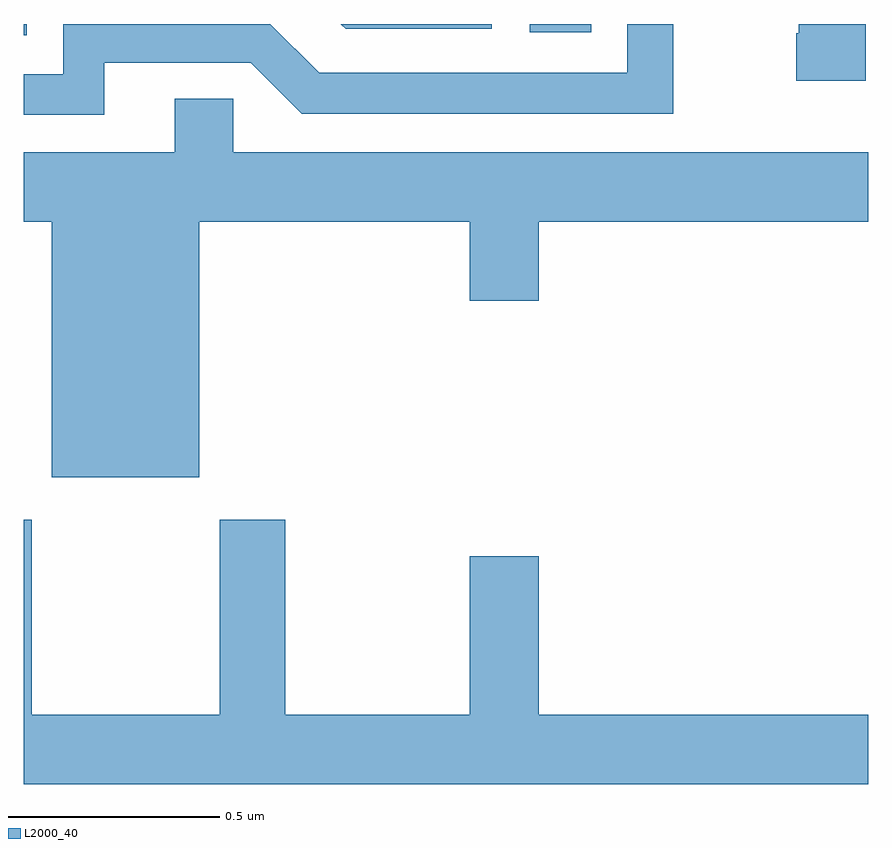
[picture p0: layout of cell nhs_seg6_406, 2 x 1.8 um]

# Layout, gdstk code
import gdstk
lib = gdstk.Library(unit=1e-6, precision=1e-09)
def R(c, l, rs):  # rectangles x0, y0, x1, y1
    for r in rs: c.add(gdstk.rectangle(r[:2], r[2:], *l))
def P(c, l, *ps):  # polygons
    for p in ps: c.add(gdstk.Polygon(p, *l))
L2000_40 = (2000, 40)

nhs_seg6_406 = lib.new_cell('nhs_seg6_406')
R(nhs_seg6_406, L2000_40, [(116,918.473,116.007,918.5), (117.198,918.48,117.344,918.5)])
P(nhs_seg6_406, L2000_40, [(116.191,918.408),(116.538,918.408),(116.658,918.288),(117.538,918.288),(117.538,918.5),(117.429,918.5),(117.429,918.384),(116.7,918.384),(116.584,918.5),(116.094,918.5),(116.094,918.381),(116,918.381),(116,918.285),(116.191,918.285)],
  [(117.994,918.5),(117.836,918.5),(117.836,918.478),(117.829,918.478),(117.829,918.366),(117.994,918.366)],
  [(117.108,918.5),(116.751,918.5),(116.762,918.489),(117.108,918.489)],
  [(116.416,918.032),(117.056,918.032),(117.056,917.844),(117.22,917.844),(117.22,918.032),(118,918.032),(118,918.196),(116.496,918.196),(116.496,918.323),(116.357,918.323),(116.357,918.196),(116,918.196),(116,918.032),(116.066,918.032),(116.066,917.426),(116.416,917.426)],
  [(118,916.864),(117.22,916.864),(117.22,917.239),(117.056,917.239),(117.056,916.864),(116.619,916.864),(116.619,917.326),(116.464,917.326),(116.464,916.864),(116.019,916.864),(116.019,917.326),(116,917.326),(116,916.7),(118,916.7)])

lib.write_gds('nhs_seg6_406.gds')
